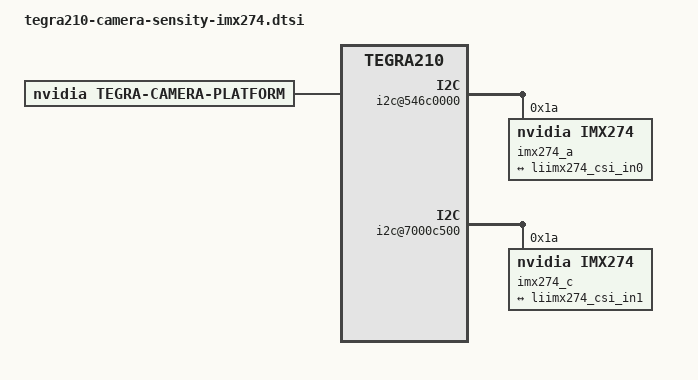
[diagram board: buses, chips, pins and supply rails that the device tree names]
/*
 * Copyright (c) 2016, Sensity Systems, Inc.  All rights reserved.
 * Copyright (c) 2017 Verizon Communications, Inc.  All right reserved.
 *
 * This program is free software; you can redistribute it and/or modify
 * it under the terms of the GNU General Public License as published by
 * the Free Software Foundation; either version 2 of the License, or
 * (at your option) any later version.
 *
 * This program is distributed in the hope that it will be useful, but WITHOUT
 * ANY WARRANTY; without even the implied warranty of MERCHANTABILITY or
 * FITNESS FOR A PARTICULAR PURPOSE.  See the GNU General Public License for
 * more details.
 *
 * You should have received a copy of the GNU General Public License
 * along with this program.  If not, see <http://www.gnu.org/licenses/>.
 */

#include <dt-bindings/media/camera.h>
#include <dt-bindings/platform/t210/t210.h>

/* camera control gpio definitions */
/ {
	host1x {
		vi {
			num-channels = <2>;
			ports {
				#address-cells = <1>;
				#size-cells = <0>;
				port@0 {
					reg = <0>;
					liimx274_vi_in0: endpoint {
						csi-port = <0>;
						bus-width = <4>;
						remote-endpoint = <&liimx274_csi_out0>;
					};
				};
				port@1 {
					reg = <1>;
					liimx274_vi_in1: endpoint {
						csi-port = <1>;
						bus-width = <4>;
						remote-endpoint = <&liimx274_csi_out1>;
					};
				};

			};
		};

		nvcsi {
			num-channels = <2>;
			#address-cells = <1>;
			#size-cells = <0>;
			channel@0 {
				reg = <0>;
				ports {
					#address-cells = <1>;
					#size-cells = <0>;
					port@0 {
						reg = <0>;
						liimx274_csi_in0: endpoint@0 {
							csi-port = <0>;
							bus-width = <4>;
							remote-endpoint = <&liimx274_imx274_out0>;
						};
					};
					port@1 {
						reg = <1>;
						liimx274_csi_out0: endpoint@1 {
							remote-endpoint = <&liimx274_vi_in0>;
						};
					};
				};
			};
			channel@1 {
				reg = <1>;
				ports {
					#address-cells = <1>;
					#size-cells = <0>;
					port@0 {
						reg = <0>;
						liimx274_csi_in1: endpoint@0 {
							csi-port = <2>;
							bus-width = <4>;
							remote-endpoint = <&liimx274_imx274_out1>;
						};
					};
					port@1 {
						reg = <1>;
						liimx274_csi_out1: endpoint@1 {
							remote-endpoint = <&liimx274_vi_in1>;
						};
					};
				};
			};
		};

		i2c@546c0000 {
			avdd_dsi_csi-supply = <&max77620_gpio7>;

			status = "okay";
			#address-cells = <1>;
			#size-cells = <0>;

			imx274_a@1a {
				compatible = "nvidia,imx274";

				reg = <0x1a>;

				/* Physical dimensions of sensor */
				physical_w = "3.674";
				physical_h = "2.738";

				sensor_model = "imx274";
				/* Define any required hw resources needed by driver */
				/* ie. clocks, io pins, power sources */
				devnode = "video0";

				/* Defines number of frames to be dropped by driver internally after applying */
				/* sensor crop settings. Some sensors send corrupt frames after applying */
				/* crop co-ordinates */
				post_crop_frame_drop = "0";
				/* if true, delay gain setting by one frame to be in sync with exposure */
				delayed_gain = "true";

				/**
				* A modeX node is required to support v4l2 driver
				* implementation with NVIDIA camera software stack
				*
				* mclk_khz = "";
				* Standard MIPI driving clock, typically 24MHz
				*
				* num_lanes = "";
				* Number of lane channels sensor is programmed to output
				*
				* tegra_sinterface = "";
				* The base tegra serial interface lanes are connected to
				*
				* discontinuous_clk = "";
				* The sensor is programmed to use a discontinuous clock on MIPI lanes
				*
				* dpcm_enable = "true";
				* The sensor is programmed to use a DPCM modes
				*
				* cil_settletime = "";
				* MIPI lane settle time value.
				* A "0" value attempts to autocalibrate based on mclk_multiplier
				*
				* active_w = "";
				* Pixel active region width
				*
				* active_h = "";
				* Pixel active region height
				*
				* dynamic_pixel_bit_depth = "";
				* sensor dynamic bit depth for sensor mode
				*
				* csi_pixel_bit_depth = "";
				* sensor output bit depth for sensor mode
				*
				* mode_type="";
				* Sensor mode type, For eg: yuv, Rgb, bayer, bayer_wdr_pwl
				*
				* pixel_phase="";
				* Pixel phase for sensor mode, For eg: rggb, vyuy, rgb888
				*
				* readout_orientation = "0";
				* Based on camera module orientation.
				* Only change readout_orientation if you specifically
				* Program a different readout order for this mode
				*
				* line_length = "";
				* Pixel line length (width) for sensor mode.
				* This is used to calibrate features in our camera stack.
				*
				* mclk_multiplier = "";
				* Multiplier to MCLK to help time hardware capture sequence
				* TODO: Assign to PLL_Multiplier as well until fixed in core
				*
				* pix_clk_hz = "";
				* Sensor pixel clock used for calculations like exposure and framerate
				*
				*
				*
				*
				* inherent_gain = "";
				* Gain obtained inherently from mode (ie. pixel binning)
				*
				* min_gain_val = ""; (floor to 6 decimal places)
				* max_gain_val = ""; (floor to 6 decimal places)
				* Gain limits for mode
				* if use_decibel_gain = "true", please set the gain as decibel
				*
				* min_exp_time = ""; (ceil to integer)
				* max_exp_time = ""; (ceil to integer)
				* Exposure Time limits for mode (us)
				*
				*
				* min_hdr_ratio = "";
				* max_hdr_ratio = "";
				* HDR Ratio limits for mode
				*
				* min_framerate = "";
				* max_framerate = "";
				* Framerate limits for mode (fps)
				*
				* embedded_metadata_height = "";
				* Sensor embedded metadata height in units of rows.
				* If sensor does not support embedded metadata value should be 0.
				*/
				mode0 {
					mclk_khz = "24000";
					num_lanes = "4";
					tegra_sinterface = "serial_a";
					discontinuous_clk = "yes";
					dpcm_enable = "false";
					cil_settletime = "0";

					active_w = "1920";
					active_h = "1080";
					pixel_t = "bayer_rggb";
					readout_orientation = "90";
					line_length = "4200";
					inherent_gain = "1";
					mclk_multiplier = "25";
					pix_clk_hz = "756000000";

					min_gain_val = "1.0";
					max_gain_val = "22.2";
					min_hdr_ratio = "1";
					max_hdr_ratio = "64";
					min_framerate = "1.462526";
					max_framerate = "60";
					min_exp_time = "16.165";
					max_exp_time = "165770";
				};
				mode1 {
					mclk_khz = "24000";
					num_lanes = "4";
					tegra_sinterface = "serial_a";
					discontinuous_clk = "yes";
					dpcm_enable = "false";
					cil_settletime = "0";

					active_w = "3840";
					active_h = "2160";
					pixel_t = "bayer_rggb";
					readout_orientation = "90";
					line_length = "4200";
					inherent_gain = "1";
					mclk_multiplier = "25";
					pix_clk_hz = "756000000";

					min_gain_val = "1.0";
					max_gain_val = "180";
					min_hdr_ratio = "1";
					max_hdr_ratio = "64";
					min_framerate = "1.462526";
					max_framerate = "60";
					min_exp_time = "16.165";
					max_exp_time = "165770";
				};
				ports {
					#address-cells = <1>;
					#size-cells = <0>;
					port@0 {
						reg = <0>;
						liimx274_imx274_out0: endpoint {
							csi-port = <0>;
							bus-width = <4>;
							remote-endpoint = <&liimx274_csi_in0>;
						};
					};
				};
			};
		};
	};

	i2c@7000c500 {
		avdd_dsi_csi-supply = <&max77620_gpio7>;

		status = "okay";
		#address-cells = <1>;
		#size-cells = <0>;

		imx274_c@1a {
			compatible = "nvidia,imx274";

			reg = <0x1a>;

			/* Physical dimensions of sensor */
			physical_w = "3.674";
			physical_h = "2.738";
			sensor_model = "imx274";
			/* Define any required hw resources needed by driver */
			/* ie. clocks, io pins, power sources */

			/* Defines number of frames to be dropped by driver internally after applying */
			/* sensor crop settings. Some sensors send corrupt frames after applying */
			/* crop co-ordinates */
			post_crop_frame_drop = "0";

			/**
			* A modeX node is required to support v4l2 driver
			* implementation with NVIDIA camera software stack
			*
			* mclk_khz = "";
			* Standard MIPI driving clock, typically 24MHz
			*
			* num_lanes = "";
			* Number of lane channels sensor is programmed to output
			*
			* tegra_sinterface = "";
			* The base tegra serial interface lanes are connected to
			*
			* discontinuous_clk = "";
			* The sensor is programmed to use a discontinuous clock on MIPI lanes
			*
			* dpcm_enable = "true";
			* The sensor is programmed to use a DPCM modes
			*
			* cil_settletime = "";
			* MIPI lane settle time value.
			* A "0" value attempts to autocalibrate based on mclk_multiplier
			*
			* active_w = "";
			* Pixel active region width
			*
			* active_h = "";
			* Pixel active region height
			*
			* dynamic_pixel_bit_depth = "";
			* sensor dynamic bit depth for sensor mode
			*
			* csi_pixel_bit_depth = "";
			* sensor output bit depth for sensor mode
			*
			* mode_type="";
			* Sensor mode type, For eg: yuv, Rgb, bayer, bayer_wdr_pwl
			*
			* pixel_phase="";
			* Pixel phase for sensor mode, For eg: rggb, vyuy, rgb888
			*
			* readout_orientation = "0";
			* Based on camera module orientation.
			* Only change readout_orientation if you specifically
			* Program a different readout order for this mode
			*
			* line_length = "";
			* Pixel line length (width) for sensor mode.
			* This is used to calibrate features in our camera stack.
			*
			* mclk_multiplier = "";
			* Multiplier to MCLK to help time hardware capture sequence
			* TODO: Assign to PLL_Multiplier as well until fixed in core
			*
			* pix_clk_hz = "";
			* Sensor pixel clock used for calculations like exposure and framerate
			*
			*
			*
			*
			* inherent_gain = "";
			* Gain obtained inherently from mode (ie. pixel binning)
			*
			* min_gain_val = ""; (floor to 6 decimal places)
			* max_gain_val = ""; (floor to 6 decimal places)
			* Gain limits for mode
			* if use_decibel_gain = "true", please set the gain as decibel
			*
			* min_exp_time = ""; (ceil to integer)
			* max_exp_time = ""; (ceil to integer)
			* Exposure Time limits for mode (us)
			*
			*
			* min_hdr_ratio = "";
			* max_hdr_ratio = "";
			* HDR Ratio limits for mode
			*
			* min_framerate = "";
			* max_framerate = "";
			* Framerate limits for mode (fps)
			*
			* embedded_metadata_height = "";
			* Sensor embedded metadata height in units of rows.
			* If sensor does not support embedded metadata value should be 0.
			*/

			mode0 {
				mclk_khz = "24000";
				num_lanes = "4";
				tegra_sinterface = "serial_e";
				discontinuous_clk = "yes";
				dpcm_enable = "false";
				cil_settletime = "0";

				active_w = "1920";
				active_h = "1080";
				pixel_t = "bayer_rggb";
				readout_orientation = "90";
				line_length = "4200";
				inherent_gain = "1";
				mclk_multiplier = "25";
				pix_clk_hz = "756000000";

				min_gain_val = "1.0";
				max_gain_val = "180";
				min_hdr_ratio = "1";
				max_hdr_ratio = "64";
				min_framerate = "1.462526";
				max_framerate = "60";
				min_exp_time = "16.165";
				max_exp_time = "165770";
			};

			mode1 {
				mclk_khz = "24000";
				num_lanes = "4";
				tegra_sinterface = "serial_e";
				discontinuous_clk = "yes";
				dpcm_enable = "false";
				cil_settletime = "0";

				active_w = "3840";
				active_h = "2160";
				pixel_t = "bayer_rggb";
				readout_orientation = "90";
				line_length = "4200";
				inherent_gain = "1";
				mclk_multiplier = "25";
				pix_clk_hz = "756000000";

				min_gain_val = "1.0";
				max_gain_val = "180";
				min_hdr_ratio = "1";
				max_hdr_ratio = "64";
				min_framerate = "1.462526";
				max_framerate = "60";
				min_exp_time = "16.165";
				max_exp_time = "165770";
			};
			ports {
				#address-cells = <1>;
				#size-cells = <0>;
				port@0 {
					reg = <0>;
					liimx274_imx274_out1: endpoint {
						csi-port = <2>;
						bus-width = <4>;
						remote-endpoint = <&liimx274_csi_in1>;
					};
				};
			};
		};
	};
	lens_imx274@A6V24 {
		min_focus_distance = "0.0";
		hyper_focal = "0.0";
		focal_length = "5.00";
		f_number = "2.0";
		aperture = "2.2";
	};
};

/* camera control gpio definitions */
/ {

	tegra-camera-platform {
		compatible = "nvidia, tegra-camera-platform";
		/**
		* Physical settings to calculate max ISO BW
		*
		* num_csi_lanes = <>;
		* Total number of CSI lanes when all cameras are active
		*
		* max_lane_speed = <>;
		* Max lane speed in Kbit/s
		*
		* min_bits_per_pixel = <>;
		* Min bits per pixel
		*
		* vi_peak_byte_per_pixel = <>;
		* Max byte per pixel for the VI ISO case
		*
		* vi_bw_margin_pct = <>;
		* Vi bandwidth margin in percentage
		*
		* max_pixel_rate = <>;
		* Max pixel rate in Kpixel/s for the ISP ISO case
		*
		* isp_peak_byte_per_pixel = <>;
		* Max byte per pixel for the ISP ISO case
		*
		* isp_bw_margin_pct = <>;
		* Isp bandwidth margin in percentage
		*/
		num_csi_lanes = <8>;
		max_lane_speed = <1500000>;
		min_bits_per_pixel = <10>;
		vi_peak_byte_per_pixel = <2>;
		vi_bw_margin_pct = <25>;
		max_pixel_rate = <750000>;
		isp_peak_byte_per_pixel = <5>;
		isp_bw_margin_pct = <25>;

		/**
		 * The general guideline for naming badge_info contains 3 parts, and is as follows,
		 * The first part is the camera_board_id for the module; if the module is in a FFD
		 * platform, then use the platform name for this part.
		 * The second part contains the position of the module, ex. "rear" or "front".
		 * The third part contains the last 6 characters of a part number which is found
		 * in the module's specsheet from the vender.
		 */
		modules {
			module0 {
				badge = "imx274_bottomleft_A6V24";
				position = "bottomleft";
				orientation = "1";
				status = "okay";
				drivernode0 {
					/* Declare PCL support driver (classically known as guid)  */
					pcl_id = "v4l2_sensor";
					/* Driver's v4l2 device name */
					devname = "imx274 6-001a";
					/* Declare the device-tree hierarchy to driver instance */
					proc-device-tree = "/proc/device-tree/host1x/i2c@546c0000/imx274_a@1a";
					status = "okay";
				};
				drivernode1 {
					/* Declare PCL support driver (classically known as guid)  */
					pcl_id = "v4l2_lens";
					proc-device-tree = "/proc/device-tree/lens_imx274@A6V24/";
				};
			};
			module1 {
				badge = "imx274_bottomright_A6V24";
				position = "bottomright";
				orientation = "1";
				status = "okay";
				drivernode0 {
					/* Declare PCL support driver (classically known as guid)  */
					pcl_id = "v4l2_sensor";
					/* Driver's v4l2 device name */
					devname = "imx274 2-001a";
					/* Declare the device-tree hierarchy to driver instance */
					proc-device-tree = "/proc/device-tree/i2c@7000c500/imx274_c@1a";
					status = "okay";
				};
				drivernode1 {
					/* Declare PCL support driver (classically known as guid)  */
					pcl_id = "v4l2_lens";
					proc-device-tree = "/proc/device-tree/lens_imx274@A6V24/";
				};
			};
		};
	};
};
